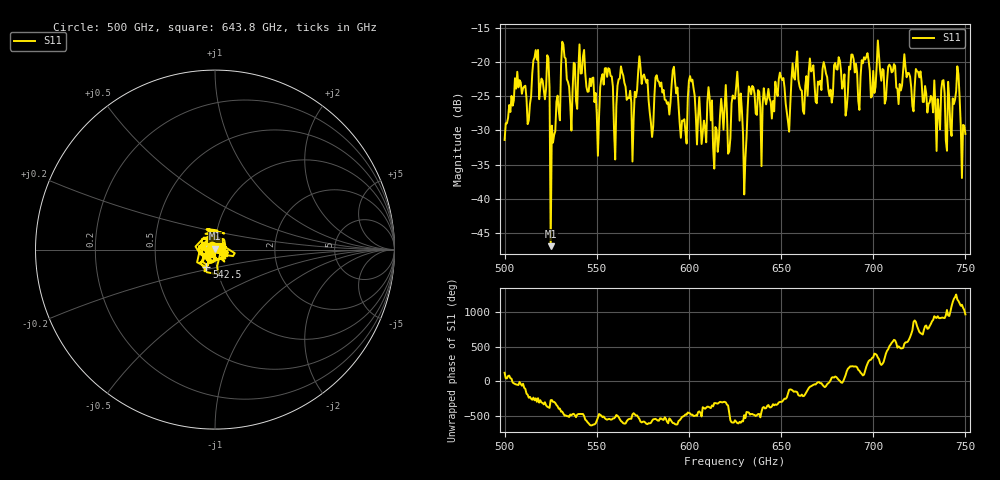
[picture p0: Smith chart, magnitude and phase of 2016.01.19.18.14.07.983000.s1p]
!Created with skrf (http://scikit-rf.org).
# GHz S RI R 50.0
!freq ReS11 ImS11
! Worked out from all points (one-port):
!   401 points, 500 GHz to 750 GHz, reference 50 ohm
!   lowest |S11| = -46.9 dB at 525 GHz (marker M1), VSWR 1.01, Z = 50 + j0.449 ohm
!   |S11| at or under -10 dB: start of sweep to end of sweep
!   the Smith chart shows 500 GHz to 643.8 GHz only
!   S11 on the Smith chart (normalised r, x): 500 GHz: 0.97, +0.04; 542.5 GHz: 0.89, -0.18; 643.8 GHz: 1.11, -0.04
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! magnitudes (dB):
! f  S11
! 500 GHz  -31.4
! 506.9 GHz  -21.4
! 513.1 GHz  -28.5
! 516.9 GHz  -18.3
! 523.1 GHz  -19.0
! 525 GHz  -46.9
! 526.2 GHz  -31.8
! 531.2 GHz  -17.1
! 542.5 GHz  -19.2
! 550 GHz  -27.6
! 562.5 GHz  -22.4
! 568.8 GHz  -26.0
! 573.8 GHz  -20.8
! 579.4 GHz  -28.9
! 583.1 GHz  -22.8
! 593.8 GHz  -23.7
! 611.2 GHz  -25.3
! 614.4 GHz  -29.5
! 625 GHz  -25.4
! 630 GHz  -39.4
! 633.8 GHz  -24.7
! 643.8 GHz  -25.4
! 656.2 GHz  -20.2
! 687.5 GHz  -21.1
! 718.8 GHz  -21.6
! 735 GHz  -25.4
! 745.6 GHz  -20.6
! 750 GHz  -30.5
